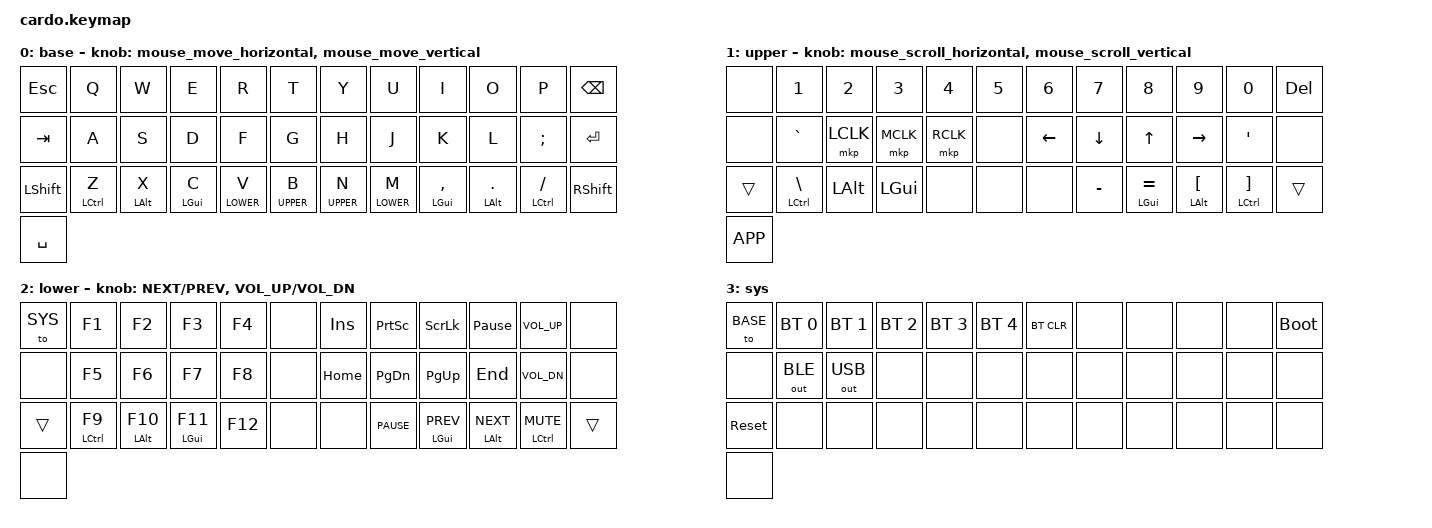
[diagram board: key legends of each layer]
#include <behaviors.dtsi>
#include <dt-bindings/zmk/keys.h>
#include <dt-bindings/zmk/bt.h>
#include <dt-bindings/zmk/outputs.h>
#include <dt-bindings/zmk/pointing.h>

#define BASE  0
#define UPPER 1
#define LOWER 2
#define SYS   3

/* Make layer-taps resolve like the home-row mod-taps below. */
&lt {
    flavor = "balanced";
    tapping-term-ms = <280>;
    quick-tap-ms = <175>;
    require-prior-idle-ms = <125>;
};

/ {
    behaviors {
        mouse_move_horizontal: mouse_move_horizontal {
            compatible = "zmk,behavior-sensor-rotate";
            #sensor-binding-cells = <0>;
            bindings = <&mmv MOVE_LEFT>, <&mmv MOVE_RIGHT>;
        };

        mouse_move_vertical: mouse_move_vertical {
            compatible = "zmk,behavior-sensor-rotate";
            #sensor-binding-cells = <0>;
            bindings = <&mmv MOVE_DOWN>, <&mmv MOVE_UP>;
        };

        mouse_scroll_horizontal: mouse_scroll_horizontal {
            compatible = "zmk,behavior-sensor-rotate";
            #sensor-binding-cells = <0>;
            bindings = <&msc SCRL_LEFT>, <&msc SCRL_RIGHT>;
        };

        mouse_scroll_vertical: mouse_scroll_vertical {
            compatible = "zmk,behavior-sensor-rotate";
            #sensor-binding-cells = <0>;
            bindings = <&msc SCRL_DOWN>, <&msc SCRL_UP>;
        };

        hm: home_mod {
            compatible = "zmk,behavior-hold-tap";
            #binding-cells = <2>;
            flavor = "balanced";
            tapping-term-ms = <280>;
            quick-tap-ms = <175>;
            require-prior-idle-ms = <125>;
            bindings = <&kp>, <&kp>;
        };
    };

    keymap {
        compatible = "zmk,keymap";

        base {
            sensor-bindings = <&mouse_move_horizontal>,
                              <&mouse_move_vertical>;

            bindings = <
                &kp ESC       &kp Q       &kp W       &kp E       &kp R       &kp T       &kp Y       &kp U       &kp I       &kp O       &kp P       &kp BSPC
                &kp TAB       &kp A       &kp S       &kp D       &kp F       &kp G       &kp H       &kp J       &kp K       &kp L       &kp SEMICOLON &kp ENTER
                &kp LSHIFT    &hm LCTRL Z  &hm LALT X  &hm LGUI C  &lt LOWER V   &lt UPPER B   &lt UPPER N   &lt LOWER M   &hm LGUI COMMA &hm LALT DOT &hm LCTRL SLASH &kp RSHIFT
                &kp SPACE
            >;
        };

        upper {
            sensor-bindings = <&mouse_scroll_horizontal>,
                              <&mouse_scroll_vertical>;

            bindings = <
                &none         &kp N1      &kp N2      &kp N3      &kp N4      &kp N5      &kp N6      &kp N7      &kp N8      &kp N9      &kp N0      &kp DELETE
                &none         &kp GRAVE   &mkp LCLK   &mkp MCLK   &mkp RCLK   &none       &kp LEFT    &kp DOWN    &kp UP      &kp RIGHT   &kp APOSTROPHE &none
                &trans        &hm LCTRL BACKSLASH &kp LALT &kp LGUI &none     &none       &none       &kp MINUS   &hm LGUI EQUAL &hm LALT LBKT &hm LCTRL RBKT &trans
                &kp K_APP
            >;
        };

        lower {
            sensor-bindings = <&inc_dec_kp C_NEXT C_PREV>,
                              <&inc_dec_kp C_VOL_UP C_VOL_DN>;

            bindings = <
                &to SYS       &kp F1      &kp F2      &kp F3      &kp F4      &none       &kp INSERT  &kp PRINTSCREEN &kp SCROLLLOCK &kp PAUSE_BREAK &kp C_VOL_UP &none
                &none         &kp F5      &kp F6      &kp F7      &kp F8      &none       &kp HOME    &kp PAGE_DOWN &kp PAGE_UP &kp END     &kp C_VOL_DN &none
                &trans        &hm LCTRL F9 &hm LALT F10 &hm LGUI F11 &kp F12   &none       &none       &kp C_PAUSE &hm LGUI C_PREV &hm LALT C_NEXT &hm LCTRL C_MUTE &trans
                &none
            >;
        };

        sys {
            bindings = <
                &to BASE &bt BT_SEL 0 &bt BT_SEL 1 &bt BT_SEL 2 &bt BT_SEL 3 &bt BT_SEL 4 &bt BT_CLR &none &none &none &none &bootloader
                &none &out OUT_BLE &out OUT_USB &none &none &none &none &none &none &none &none &none
                &sys_reset &none &none &none &none &none &none &none &none &none &none &none
                &none
            >;
        };
    };

    combos {
        compatible = "zmk,combos";

        caps_lock_combo {
            timeout-ms = <50>;
            key-positions = <24 35>;
            layers = <BASE>;
            bindings = <&kp CAPSLOCK>;
        };
    };
};
